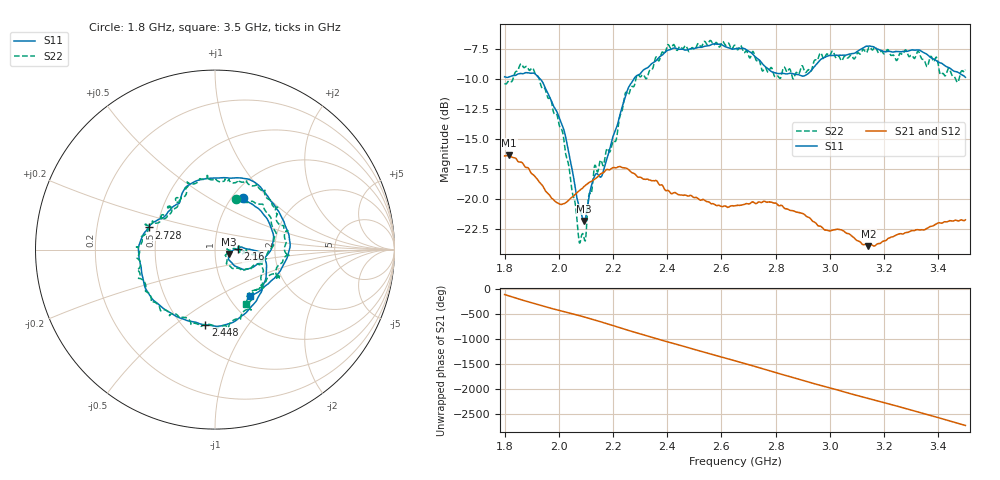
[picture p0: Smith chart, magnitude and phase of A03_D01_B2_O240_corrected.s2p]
! Created with skrf 1.9.0 (http://scikit-rf.org).
# Hz S RI R 50.0
!freq ReS11 ImS11 ReS21 ImS21 ReS12 ImS12 ReS22 ImS22
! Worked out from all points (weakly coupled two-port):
!   1601 points, 1.8 GHz to 3.5 GHz, reference 50 ohm
!   highest |S21| = -16.38 dB at 1.817 GHz (marker M1); lowest = -24.0 dB at 3.142 GHz (marker M2)
!   lowest |S11| = -21.9 dB at 2.093 GHz (marker M3), VSWR 1.18, Z = 58.2 - j2.89 ohm
!   |S11| at or under -10 dB: 1.932 GHz to 2.276 GHz (343.6 MHz wide, 16.3 % of centre)
!   |S22| runs from -23.7 to -6.7 dB; largest |S21 - S12| = 0.003
!   S11 on the Smith chart (normalised r, x): 1.8 GHz: 1.12, +0.72; 2.16 GHz: 1.29, +0.01; 2.448 GHz: 0.64, -0.65; 2.728 GHz: 0.45, +0.13; 3.5 GHz: 1.25, -0.72
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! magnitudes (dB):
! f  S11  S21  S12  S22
! 1.8 GHz  -9.8  -16.4  -16.4  -10.3
! 1.817 GHz  -9.8  -16.4  -16.4  -10.1
! 1.902 GHz  -9.5  -17.9  -17.9  -9.0
! 1.969 GHz  -11.6  -19.8  -19.8  -11.6
! 2.014 GHz  -13.9  -20.4  -20.5  -14.4
! 2.084 GHz  -21.3  -19.2  -19.1  -23.1
! 2.093 GHz  -21.9  -19.0  -19.0  -23.3
! 2.131 GHz  -18.1  -18.4  -18.4  -17.3
! 2.16 GHz  -18.0  -17.9  -17.8  -17.1
! 2.209 GHz  -14.3  -17.4  -17.4  -15.2
! 2.259 GHz  -10.6  -17.6  -17.6  -11.2
! 2.367 GHz  -8.2  -18.7  -18.7  -8.4
! 2.448 GHz  -7.5  -19.7  -19.7  -7.3
! 2.65 GHz  -7.5  -20.6  -20.6  -7.2
! 2.728 GHz  -8.2  -20.4  -20.4  -8.4
! 2.81 GHz  -9.5  -20.6  -20.5  -9.8
! 2.934 GHz  -9.2  -21.8  -21.8  -9.2
! 3.142 GHz  -7.2  -24.0  -23.9  -7.4
! 3.217 GHz  -7.7  -23.3  -23.3  -7.6
! 3.389 GHz  -8.4  -22.1  -22.1  -8.2
! 3.468 GHz  -9.4  -21.8  -21.8  -10.2
! 3.5 GHz  -9.8  -21.8  -21.8  -9.2
